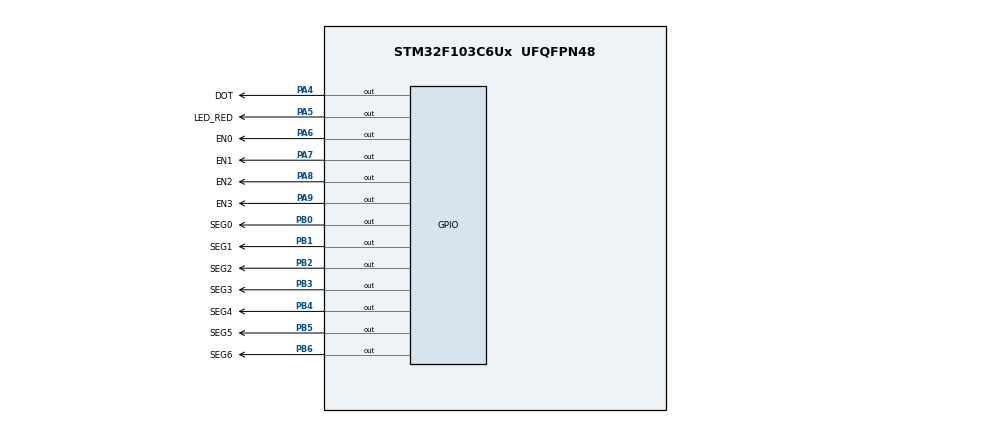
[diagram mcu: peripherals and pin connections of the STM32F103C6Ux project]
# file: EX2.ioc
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Mcu.Family=STM32F1
Mcu.Name=STM32F103C6Ux
Mcu.Package=UFQFPN48
NVIC.PriorityGroup=NVIC_PRIORITYGROUP_4
NVIC.TIM2_IRQn=true\:0\:0\:false\:false\:true\:true\:true
PA4.GPIO_Label=DOT
PA4.Signal=GPIO_Output
PA5.GPIO_Label=LED_RED
PA5.Signal=GPIO_Output
PA6.GPIO_Label=EN0
PA6.Signal=GPIO_Output
PA7.GPIO_Label=EN1
PA7.Signal=GPIO_Output
PA8.GPIO_Label=EN2
PA8.Signal=GPIO_Output
PA9.GPIO_Label=EN3
PA9.Signal=GPIO_Output
PB0.GPIO_Label=SEG0
PB0.Signal=GPIO_Output
PB1.GPIO_Label=SEG1
PB1.Signal=GPIO_Output
PB2.GPIO_Label=SEG2
PB2.Signal=GPIO_Output
PB3.GPIO_Label=SEG3
PB3.Signal=GPIO_Output
PB4.GPIO_Label=SEG4
PB4.Signal=GPIO_Output
PB5.GPIO_Label=SEG5
PB5.Signal=GPIO_Output
PB6.GPIO_Label=SEG6
PB6.Signal=GPIO_Output
ProjectManager.HeapSize=0x200
ProjectManager.StackSize=0x400
ProjectManager.TargetToolchain=STM32CubeIDE
RCC.APB1Freq_Value=8000000
RCC.APB2Freq_Value=8000000
TIM2.Period=9
TIM2.Prescaler=7999
VP_SYS_VS_ND.Mode=No_Debug
VP_TIM2_VS_ClockSourceINT.Mode=Internal
board=custom

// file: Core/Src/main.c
/* USER CODE BEGIN Header */
/**
  ******************************************************************************
  * @file           : main.c
  * @brief          : Main program body
  ******************************************************************************
  * @attention
  *
  * <h2><center>&copy; Copyright (c) 2026 STMicroelectronics.
  * All rights reserved.</center></h2>
  *
  * This software component is licensed by ST under BSD 3-Clause license,
  * the "License"; You may not use this file except in compliance with the
  * License. You may obtain a copy of the License at:
  *                        opensource.org/licenses/BSD-3-Clause
  *
  ******************************************************************************
  */
/* USER CODE END Header */
#include "main.h"

TIM_HandleTypeDef htim2;

void SystemClock_Config(void);
static void MX_TIM2_Init(void);
static void MX_GPIO_Init(void);

/* USER CODE BEGIN 0 */
int led_counter= 1;
int flag = 0;
int dot_counter = 1;
int dot_state=0;
/* USER CODE END 0 */

int main(void)
{

  /* MCU Configuration--------------------------------------------------------*/

  /* Reset of all peripherals, Initializes the Flash interface and the Systick. */
  HAL_Init();

  /* Configure the system clock */
  SystemClock_Config();

  /* Initialize all configured peripherals */
  MX_TIM2_Init();
  MX_GPIO_Init();
  /* USER CODE BEGIN 2 */
  HAL_TIM_Base_Start_IT(&htim2);
  /* USER CODE END 2 */

  /* Infinite loop */
  while (1)
  {

  }
}

void SystemClock_Config(void)
{
  RCC_OscInitTypeDef RCC_OscInitStruct = {0};
  RCC_ClkInitTypeDef RCC_ClkInitStruct = {0};

  /** Initializes the RCC Oscillators according to the specified parameters
  * in the RCC_OscInitTypeDef structure.
  */
  RCC_OscInitStruct.OscillatorType = RCC_OSCILLATORTYPE_HSI;
  RCC_OscInitStruct.HSIState = RCC_HSI_ON;
  RCC_OscInitStruct.HSICalibrationValue = RCC_HSICALIBRATION_DEFAULT;
  RCC_OscInitStruct.PLL.PLLState = RCC_PLL_NONE;
  if (HAL_RCC_OscConfig(&RCC_OscInitStruct) != HAL_OK)
  {
    Error_Handler();
  }
  /** Initializes the CPU, AHB and APB buses clocks
  */
  RCC_ClkInitStruct.ClockType = RCC_CLOCKTYPE_HCLK|RCC_CLOCKTYPE_SYSCLK
                              |RCC_CLOCKTYPE_PCLK1|RCC_CLOCKTYPE_PCLK2;
  RCC_ClkInitStruct.SYSCLKSource = RCC_SYSCLKSOURCE_HSI;
  RCC_ClkInitStruct.AHBCLKDivider = RCC_SYSCLK_DIV1;
  RCC_ClkInitStruct.APB1CLKDivider = RCC_HCLK_DIV1;
  RCC_ClkInitStruct.APB2CLKDivider = RCC_HCLK_DIV1;

  if (HAL_RCC_ClockConfig(&RCC_ClkInitStruct, FLASH_LATENCY_0) != HAL_OK)
  {
    Error_Handler();
  }
}

static void MX_TIM2_Init(void)
{

  TIM_ClockConfigTypeDef sClockSourceConfig = {0};
  TIM_MasterConfigTypeDef sMasterConfig = {0};

  htim2.Instance = TIM2;
  htim2.Init.Prescaler = 7999;
  htim2.Init.CounterMode = TIM_COUNTERMODE_UP;
  htim2.Init.Period = 9;
  htim2.Init.ClockDivision = TIM_CLOCKDIVISION_DIV1;
  htim2.Init.AutoReloadPreload = TIM_AUTORELOAD_PRELOAD_DISABLE;
  if (HAL_TIM_Base_Init(&htim2) != HAL_OK)
  {
    Error_Handler();
  }
  sClockSourceConfig.ClockSource = TIM_CLOCKSOURCE_INTERNAL;
  if (HAL_TIM_ConfigClockSource(&htim2, &sClockSourceConfig) != HAL_OK)
  {
    Error_Handler();
  }
  sMasterConfig.MasterOutputTrigger = TIM_TRGO_RESET;
  sMasterConfig.MasterSlaveMode = TIM_MASTERSLAVEMODE_DISABLE;
  if (HAL_TIMEx_MasterConfigSynchronization(&htim2, &sMasterConfig) != HAL_OK)
  {
    Error_Handler();
  }

}

static void MX_GPIO_Init(void)
{
  GPIO_InitTypeDef GPIO_InitStruct = {0};

  /* GPIO Ports Clock Enable */
  __HAL_RCC_GPIOA_CLK_ENABLE();
  __HAL_RCC_GPIOB_CLK_ENABLE();

  /*Configure GPIO pin Output Level */
  HAL_GPIO_WritePin(GPIOA, DOT_Pin|LED_RED_Pin|EN0_Pin|EN1_Pin
                          |EN2_Pin|EN3_Pin, GPIO_PIN_RESET);

  /*Configure GPIO pin Output Level */
  HAL_GPIO_WritePin(GPIOB, SEG0_Pin|SEG1_Pin|SEG2_Pin|SEG3_Pin
                          |SEG4_Pin|SEG5_Pin|SEG6_Pin, GPIO_PIN_RESET);

  /*Configure GPIO pins : DOT_Pin LED_RED_Pin EN0_Pin EN1_Pin
                           EN2_Pin EN3_Pin */
  GPIO_InitStruct.Pin = DOT_Pin|LED_RED_Pin|EN0_Pin|EN1_Pin
                          |EN2_Pin|EN3_Pin;
  GPIO_InitStruct.Mode = GPIO_MODE_OUTPUT_PP;
  GPIO_InitStruct.Pull = GPIO_NOPULL;
  GPIO_InitStruct.Speed = GPIO_SPEED_FREQ_LOW;
  HAL_GPIO_Init(GPIOA, &GPIO_InitStruct);

  /*Configure GPIO pins : SEG0_Pin SEG1_Pin SEG2_Pin SEG3_Pin
                           SEG4_Pin SEG5_Pin SEG6_Pin */
  GPIO_InitStruct.Pin = SEG0_Pin|SEG1_Pin|SEG2_Pin|SEG3_Pin
                          |SEG4_Pin|SEG5_Pin|SEG6_Pin;
  GPIO_InitStruct.Mode = GPIO_MODE_OUTPUT_PP;
  GPIO_InitStruct.Pull = GPIO_NOPULL;
  GPIO_InitStruct.Speed = GPIO_SPEED_FREQ_LOW;
  HAL_GPIO_Init(GPIOB, &GPIO_InitStruct);

}

/* USER CODE BEGIN 4 */
void display7SEG(int num){
	uint8_t seg7[10]={0xC0,0xF9,0xA4,0xB0,0x99,0x92,0x82,0xF8,0x80,0x90};
	if(num<0||num>9) return;
	uint8_t temp = seg7[num];
	HAL_GPIO_WritePin(GPIOB, SEG0_Pin, (temp >> 0) & 1);
	HAL_GPIO_WritePin(GPIOB, SEG1_Pin, (temp >> 1) & 1);
	HAL_GPIO_WritePin(GPIOB, SEG2_Pin, (temp >> 2) & 1);
	HAL_GPIO_WritePin(GPIOB, SEG3_Pin, (temp >> 3) & 1);
	HAL_GPIO_WritePin(GPIOB, SEG4_Pin, (temp >> 4) & 1);
	HAL_GPIO_WritePin(GPIOB, SEG5_Pin, (temp >> 5) & 1);
	HAL_GPIO_WritePin(GPIOB, SEG6_Pin, (temp >> 6) & 1);
}
void HAL_TIM_PeriodElapsedCallback(TIM_HandleTypeDef *htim)
{
	if (htim->Instance == TIM2) {
        led_counter--;

        if (led_counter <= 0) {
            led_counter = 50;
            switch(flag){
            case 0:
                HAL_GPIO_WritePin(GPIOA, EN1_Pin, GPIO_PIN_SET);
                HAL_GPIO_WritePin(GPIOA, EN2_Pin, GPIO_PIN_SET);
                HAL_GPIO_WritePin(GPIOA, EN3_Pin, GPIO_PIN_SET);
                display7SEG(1);
                HAL_GPIO_WritePin(GPIOA, EN0_Pin, GPIO_PIN_RESET);
                break;
            case 1:
            	 HAL_GPIO_WritePin(GPIOA, EN0_Pin, GPIO_PIN_SET);
            	 HAL_GPIO_WritePin(GPIOA, EN2_Pin, GPIO_PIN_SET);
            	 HAL_GPIO_WritePin(GPIOA, EN3_Pin, GPIO_PIN_SET);
            	 display7SEG(2);
            	 HAL_GPIO_WritePin(GPIOA, EN1_Pin, GPIO_PIN_RESET);
            	 break;
            case 2:
            	 HAL_GPIO_WritePin(GPIOA, EN1_Pin, GPIO_PIN_SET);
            	 HAL_GPIO_WritePin(GPIOA, EN0_Pin, GPIO_PIN_SET);
            	 HAL_GPIO_WritePin(GPIOA, EN3_Pin, GPIO_PIN_SET);
            	 display7SEG(3);
            	 HAL_GPIO_WritePin(GPIOA, EN2_Pin, GPIO_PIN_RESET);
            	 break;
            case 3:
            	HAL_GPIO_WritePin(GPIOA, EN1_Pin, GPIO_PIN_SET);
            	HAL_GPIO_WritePin(GPIOA, EN0_Pin, GPIO_PIN_SET);
            	HAL_GPIO_WritePin(GPIOA, EN2_Pin, GPIO_PIN_SET);
            	display7SEG(0);
            	HAL_GPIO_WritePin(GPIOA, EN3_Pin, GPIO_PIN_RESET);
            	break;
            }
            flag++;
            if (flag >= 4) {
            flag = 0;
            }
        }

        dot_counter--;
        if (dot_counter <= 0) {
        dot_counter = 100;

         if (dot_state == 0) {
         dot_state = 1;
         HAL_GPIO_WritePin(GPIOA, DOT_Pin, GPIO_PIN_SET);
         } else {
         dot_state = 0;
         HAL_GPIO_WritePin(GPIOA, DOT_Pin, GPIO_PIN_RESET);
                    }
                }
    }
}
/* USER CODE END 4 */

void Error_Handler(void)
{
  __disable_irq();
  while (1)
  {
  }
}

/************************ (C) COPYRIGHT STMicroelectronics *****END OF FILE****/
